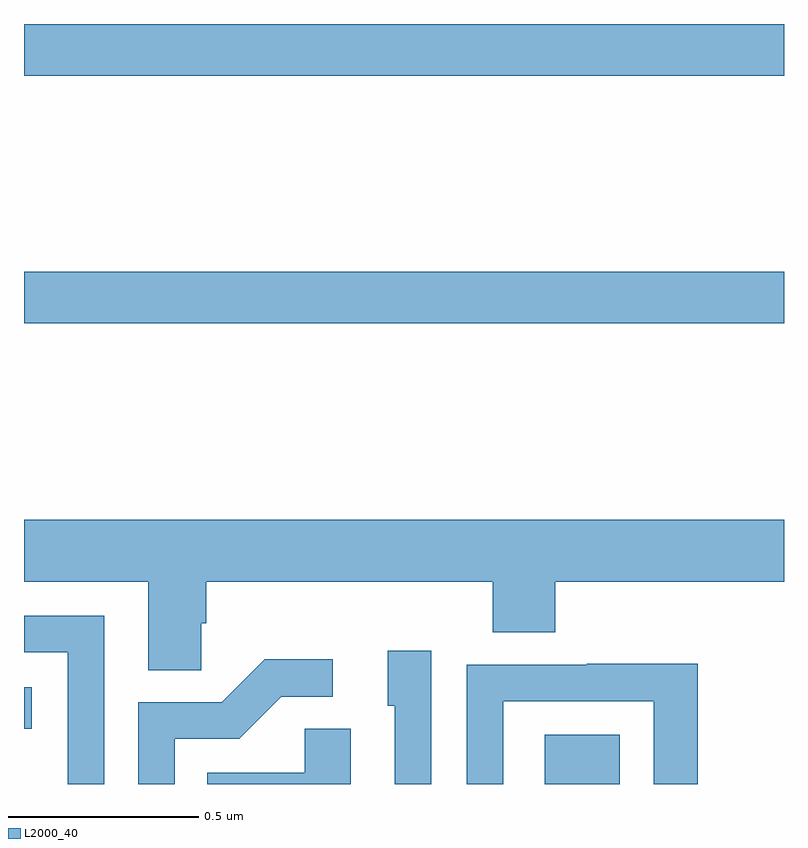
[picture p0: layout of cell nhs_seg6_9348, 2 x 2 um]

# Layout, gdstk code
import gdstk
lib = gdstk.Library(unit=1e-6, precision=1e-09)
def R(c, l, rs):  # rectangles x0, y0, x1, y1
    for r in rs: c.add(gdstk.rectangle(r[:2], r[2:], *l))
def P(c, l, *ps):  # polygons
    for p in ps: c.add(gdstk.Polygon(p, *l))
L2000_40 = (2000, 40)

nhs_seg6_9348 = lib.new_cell('nhs_seg6_9348')
R(nhs_seg6_9348, L2000_40, [(234.371,917.5,234.568,917.629), (233,917.645,233.02,917.755), (233,918.712,235,918.848), (233,919.364,235,919.5)])
P(nhs_seg6_9348, L2000_40, [(233.466,917.923),(233.48,917.923),(233.48,918.032),(234.233,918.032),(234.233,917.899),(234.398,917.899),(234.398,918.032),(235,918.032),(235,918.196),(233,918.196),(233,918.032),(233.327,918.032),(233.327,917.8),(233.466,917.8)],
  [(233.211,917.943),(233,917.943),(233,917.847),(233.115,917.847),(233.115,917.5),(233.211,917.5)],
  [(234.072,917.851),(233.957,917.851),(233.957,917.706),(233.976,917.706),(233.976,917.5),(234.072,917.5)],
  [(233.397,917.619),(233.566,917.619),(233.677,917.73),(233.812,917.73),(233.812,917.828),(233.633,917.828),(233.52,917.715),(233.301,917.715),(233.301,917.5),(233.397,917.5)],
  [(234.261,917.718),(234.657,917.718),(234.657,917.5),(234.773,917.5),(234.773,917.816),(234.481,917.816),(234.481,917.814),(234.165,917.814),(234.165,917.5),(234.261,917.5)],
  [(233.86,917.645),(233.739,917.645),(233.739,917.53),(233.482,917.53),(233.482,917.5),(233.86,917.5)])

lib.write_gds('nhs_seg6_9348.gds')
